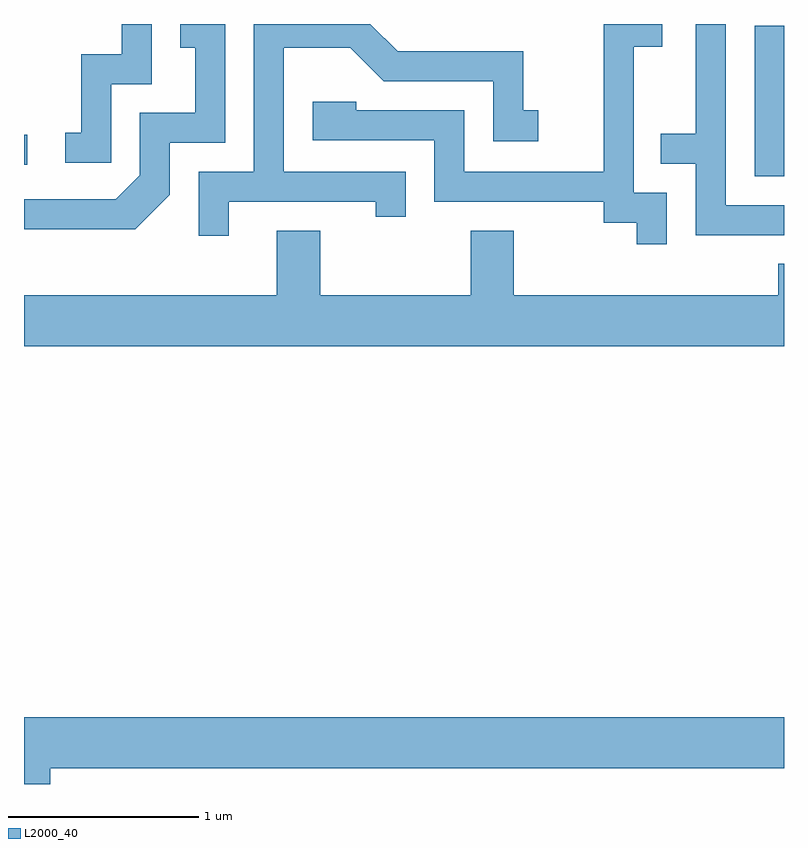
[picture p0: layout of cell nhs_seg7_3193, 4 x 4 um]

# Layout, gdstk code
import gdstk
lib = gdstk.Library(unit=1e-6, precision=1e-09)
def R(c, l, rs):  # rectangles x0, y0, x1, y1
    for r in rs: c.add(gdstk.rectangle(r[:2], r[2:], *l))
def P(c, l, *ps):  # polygons
    for p in ps: c.add(gdstk.Polygon(p, *l))
L2000_40 = (2000, 40)

nhs_seg7_3193 = lib.new_cell('nhs_seg7_3193')
R(nhs_seg7_3193, L2000_40, [(287.456,1697.451,287.611,1698.244), (283.611,1697.511,283.628,1697.669)])
P(nhs_seg7_3193, L2000_40, [(284.069,1697.936),(284.284,1697.936),(284.284,1698.252),(284.126,1698.252),(284.126,1698.094),(283.911,1698.094),(283.911,1697.679),(283.828,1697.679),(283.828,1697.521),(284.069,1697.521)],
  [(287.611,1697.299),(287.304,1697.299),(287.304,1698.252),(287.146,1698.252),(287.146,1697.674),(286.963,1697.674),(286.963,1697.516),(287.146,1697.516),(287.146,1697.141),(287.611,1697.141)],
  [(286.994,1697.364),(286.819,1697.364),(286.819,1698.131),(286.969,1698.131),(286.969,1698.252),(286.661,1698.252),(286.661,1697.474),(285.929,1697.474),(285.929,1697.799),(285.359,1697.799),(285.359,1697.844),(285.131,1697.844),(285.131,1697.641),(285.771,1697.641),(285.771,1697.316),(286.661,1697.316),(286.661,1697.206),(286.836,1697.206),(286.836,1697.093),(286.994,1697.093)],
  [(284.379,1697.354),(284.379,1697.626),(284.669,1697.626),(284.669,1698.252),(284.433,1698.252),(284.433,1698.126),(284.511,1698.126),(284.511,1697.784),(284.221,1697.784),(284.221,1697.457),(284.094,1697.329),(283.611,1697.329),(283.611,1697.171),(284.197,1697.171)],
  [(284.689,1697.316),(285.461,1697.316),(285.461,1697.238),(285.619,1697.238),(285.619,1697.474),(284.979,1697.474),(284.979,1698.126),(285.329,1698.126),(285.504,1697.951),(286.081,1697.951),(286.081,1697.636),(286.318,1697.636),(286.318,1697.799),(286.239,1697.799),(286.239,1698.109),(285.577,1698.109),(285.434,1698.252),(284.821,1698.252),(284.821,1697.474),(284.531,1697.474),(284.531,1697.138),(284.689,1697.138)],
  [(287.611,1696.989),(287.581,1696.989),(287.581,1696.824),(286.189,1696.824),(286.189,1697.164),(285.961,1697.164),(285.961,1696.824),(285.169,1696.824),(285.169,1697.164),(284.941,1697.164),(284.941,1696.824),(283.611,1696.824),(283.611,1696.556),(287.611,1696.556)],
  [(283.749,1694.336),(287.611,1694.336),(287.611,1694.604),(283.611,1694.604),(283.611,1694.252),(283.749,1694.252)])

lib.write_gds('nhs_seg7_3193.gds')
